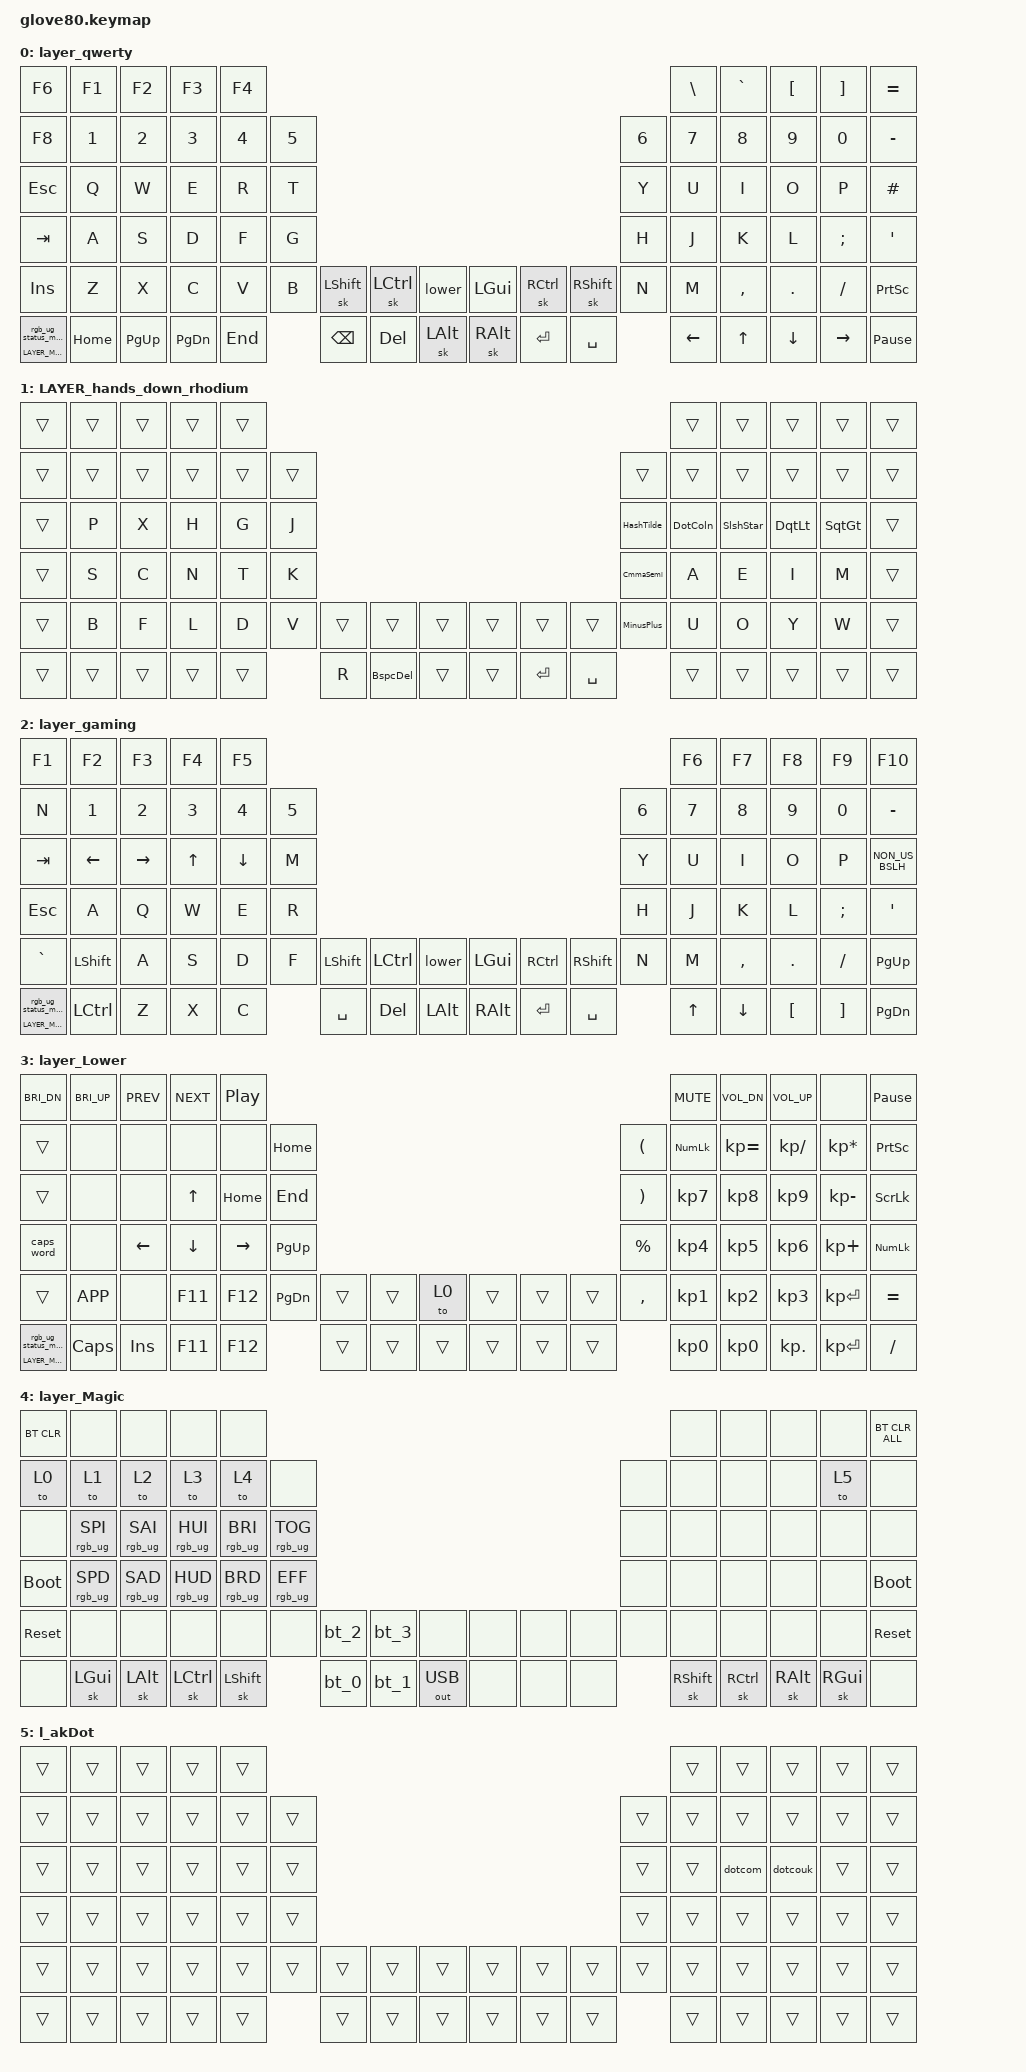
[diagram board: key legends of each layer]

/*
 * Copyright (c) 2020 The ZMK Contributors
 * Copyright (c) 2023 Innaworks Development Limited, trading as MoErgo
 *
 * SPDX-License-Identifier: MIT
 */

#include <behaviors.dtsi>
/* Include all behaviour includes needed */
#include <dt-bindings/zmk/outputs.h>
#include <dt-bindings/zmk/keys.h>
#include <dt-bindings/zmk/bt.h>
#include <dt-bindings/zmk/rgb.h>

/* Automatically generated layer name #define */
#define LAYER_qwerty 0
#define LAYER_hands_down_rhodium 1
#define LAYER_gaming 2
#define LAYER_Lower 3
#define LAYER_Magic 4
#define l_akDot 5

#define layers_hands_down LAYER_hands_down_rhodium LAYER_qwerty

/* To deal with the situation where there is no Lower layer, to keep &lower happy */
#ifndef LAYER_Lower
#define LAYER_Lower 0
#endif

/* Custom Device-tree */

#define my_tapping_term 170
#define my_quick_tapping_term 112
#define my_ak_delay 40

&mt {
    tapping-term-ms = <my_tapping_term>;
};
&sl {
    release-after-ms = <my_tapping_term>;
};
&caps_word {
    continue-list = <UNDER MINUS BSPC DEL LEFT RIGHT>;
};


/* Glove80 system behavior & macros */
/ {
    behaviors {
        // For the "layer" key, it'd nice to be able to use it as either a shift or a toggle.
        // Configure it as a tap dance, so the first tap (or hold) is a &mo and the second tap is a &to
        lower: lower {
            compatible = "zmk,behavior-tap-dance";
            label = "LAYER_TAP_DANCE";
            #binding-cells = <0>;
            tapping-term-ms = <200>;
            bindings = <&mo LAYER_Lower>, <&to LAYER_Lower>;
        };
    };
};

/ {
    macros {
        rgb_ug_status_macro: rgb_ug_status_macro {
            label = "RGB_UG_STATUS";
            compatible = "zmk,behavior-macro";
            #binding-cells = <0>;
            bindings
                = <&rgb_ug RGB_STATUS>;
        };
    };
};


/ {
#ifdef BT_DISC_CMD
    behaviors {
        bt_0: bt_0 {
            compatible = "zmk,behavior-tap-dance";
            label = "BT_0";
            #binding-cells = <0>;
            tapping-term-ms = <200>;
            bindings = <&bt_select_0>, <&bt BT_DISC 0>;
        };
        bt_1: bt_1 {
            compatible = "zmk,behavior-tap-dance";
            label = "BT_1";
            #binding-cells = <0>;
            tapping-term-ms = <200>;
            bindings = <&bt_select_1>, <&bt BT_DISC 1>;
        };
        bt_2: bt_2 {
            compatible = "zmk,behavior-tap-dance";
            label = "BT_2";
            #binding-cells = <0>;
            tapping-term-ms = <200>;
            bindings = <&bt_select_2>, <&bt BT_DISC 2>;
        };
        bt_3: bt_3 {
            compatible = "zmk,behavior-tap-dance";
            label = "BT_3";
            #binding-cells = <0>;
            tapping-term-ms = <200>;
            bindings = <&bt_select_3>, <&bt BT_DISC 3>;
        };
    };
    macros {
        bt_select_0: bt_select_0 {
            label = "BT_SELECT_0";
            compatible = "zmk,behavior-macro";
            #binding-cells = <0>;
            bindings
                = <&out OUT_BLE>,
                  <&bt BT_SEL 0>;
        };
        bt_select_1: bt_select_1 {
            label = "BT_SELECT_1";
            compatible = "zmk,behavior-macro";
            #binding-cells = <0>;
            bindings
                = <&out OUT_BLE>,
                  <&bt BT_SEL 1>;
        };
        bt_select_2: bt_select_2 {
            label = "BT_SELECT_2";
            compatible = "zmk,behavior-macro";
            #binding-cells = <0>;
            bindings
                = <&out OUT_BLE>,
                  <&bt BT_SEL 2>;
        };
        bt_select_3: bt_select_3 {
            label = "BT_SELECT_3";
            compatible = "zmk,behavior-macro";
            #binding-cells = <0>;
            bindings
                = <&out OUT_BLE>,
                  <&bt BT_SEL 3>;
        };
    };
#else
    macros {
        bt_0: bt_0 {
            label = "BT_0";
            compatible = "zmk,behavior-macro";
            #binding-cells = <0>;
            bindings
                = <&out OUT_BLE>,
                  <&bt BT_SEL 0>;
        };
        bt_1: bt_1 {
            label = "BT_1";
            compatible = "zmk,behavior-macro";
            #binding-cells = <0>;
            bindings
                = <&out OUT_BLE>,
                  <&bt BT_SEL 1>;
        };
        bt_2: bt_2 {
            label = "BT_2";
            compatible = "zmk,behavior-macro";
            #binding-cells = <0>;
            bindings
                = <&out OUT_BLE>,
                  <&bt BT_SEL 2>;
        };
        bt_3: bt_3 {
            label = "BT_3";
            compatible = "zmk,behavior-macro";
            #binding-cells = <0>;
            bindings
                = <&out OUT_BLE>,
                  <&bt BT_SEL 3>;
        };
    };
#endif
};

/ {
    behaviors {
        magic: magic {
            compatible = "zmk,behavior-hold-tap";
            label = "MAGIC_HOLD_TAP";
            #binding-cells = <2>;
            flavor = "tap-preferred";
            tapping-term-ms = <200>;
            bindings = <&mo>, <&rgb_ug_status_macro>;
        };
    };
};

/* #define for key positions */
#define POS_LH_T1 52
#define POS_LH_T2 53
#define POS_LH_T3 54
#define POS_LH_T4 69
#define POS_LH_T5 70
#define POS_LH_T6 71
#define POS_LH_C1R2 15
#define POS_LH_C1R3 27
#define POS_LH_C1R4 39
#define POS_LH_C1R5 51
#define POS_LH_C2R1 4
#define POS_LH_C2R2 14
#define POS_LH_C2R3 26
#define POS_LH_C2R4 38
#define POS_LH_C2R5 50
#define POS_LH_C2R6 68
#define POS_LH_C3R1 3
#define POS_LH_C3R2 13
#define POS_LH_C3R3 25
#define POS_LH_C3R4 37
#define POS_LH_C3R5 49
#define POS_LH_C3R6 67
#define POS_LH_C4R1 2
#define POS_LH_C4R2 12
#define POS_LH_C4R3 24
#define POS_LH_C4R4 36
#define POS_LH_C4R5 48
#define POS_LH_C4R6 66
#define POS_LH_C5R1 1
#define POS_LH_C5R2 11
#define POS_LH_C5R3 23
#define POS_LH_C5R4 35
#define POS_LH_C5R5 47
#define POS_LH_C5R6 65
#define POS_LH_C6R1 0
#define POS_LH_C6R2 10
#define POS_LH_C6R3 22
#define POS_LH_C6R4 34
#define POS_LH_C6R5 46
#define POS_LH_C6R6 64
#define POS_RH_T1 57
#define POS_RH_T2 56
#define POS_RH_T3 55
#define POS_RH_T4 74
#define POS_RH_T5 73
#define POS_RH_T6 72
#define POS_RH_C1R2 16
#define POS_RH_C1R3 28
#define POS_RH_C1R4 40
#define POS_RH_C1R5 58
#define POS_RH_C2R1 5
#define POS_RH_C2R2 17
#define POS_RH_C2R3 29
#define POS_RH_C2R4 41
#define POS_RH_C2R5 59
#define POS_RH_C2R6 75
#define POS_RH_C3R1 6
#define POS_RH_C3R2 18
#define POS_RH_C3R3 30
#define POS_RH_C3R4 42
#define POS_RH_C3R5 60
#define POS_RH_C3R6 76
#define POS_RH_C4R1 7
#define POS_RH_C4R2 19
#define POS_RH_C4R3 31
#define POS_RH_C4R4 43
#define POS_RH_C4R5 61
#define POS_RH_C4R6 77
#define POS_RH_C5R1 8
#define POS_RH_C5R2 20
#define POS_RH_C5R3 32
#define POS_RH_C5R4 44
#define POS_RH_C5R5 62
#define POS_RH_C5R6 78
#define POS_RH_C6R1 9
#define POS_RH_C6R2 21
#define POS_RH_C6R3 33
#define POS_RH_C6R4 45
#define POS_RH_C6R5 63
#define POS_RH_C6R6 79

/* Custom Defined Behaviors */
/ {
    /*
*
* Copyright (c) 2021 lowprokb.ca
* SPDX-License-Identifier: MIT
* Copied from https://github.com/moutis/zmk-config and modified by Will Martin for the Glove 80.
* Some actions are omitted, and modifier keys are changed to work with Windows/Linux.
*/

#define LT5 POS_LH_C6R3
#define LT4 POS_LH_C5R3
#define LT3 POS_LH_C4R3
#define LT2 POS_LH_C3R3
#define LT1 POS_LH_C2R3
#define LT0 POS_LH_C1R3

#define LM5 POS_LH_C6R4
#define LM4 POS_LH_C5R4
#define LM3 POS_LH_C4R4
#define LM2 POS_LH_C3R4
#define LM1 POS_LH_C2R4
#define LM0 POS_LH_C1R4

#define LB5 POS_LH_C6R5
#define LB4 POS_LH_C5R5
#define LB3 POS_LH_C4R5
#define LB2 POS_LH_C3R5
#define LB1 POS_LH_C2R5
#define LB0 POS_LH_C1R5

#define RT5 POS_RH_C6R3
#define RT4 POS_RH_C5R3
#define RT3 POS_RH_C4R3
#define RT2 POS_RH_C3R3
#define RT1 POS_RH_C2R3
#define RT0 POS_RH_C1R3

#define RM5 POS_RH_C6R4
#define RM4 POS_RH_C5R4
#define RM3 POS_RH_C4R4
#define RM2 POS_RH_C3R4
#define RM1 POS_RH_C2R4
#define RM0 POS_RH_C1R4

#define RB5 POS_RH_C6R5
#define RB4 POS_RH_C5R5
#define RB3 POS_RH_C4R5
#define RB2 POS_RH_C3R5
#define RB1 POS_RH_C2R5
#define RB0 POS_RH_C1R5

#define LH1 POS_LH_T4
#define LH2 POS_LH_T5
#define LH3 POS_LH_T6
#define RH1 POS_RH_T4
#define RH2 POS_RH_T5
#define RH3 POS_RH_T6

#define KEYS_L LT0 LT1 LT2 LT3 LT4 LM0 LM1 LM2 LM3 LM4 LB0 LB1 LB2 LB3 LB4  // left-hand keys
#define KEYS_R RT0 RT1 RT2 RT3 RT4 RM0 RM1 RM2 RM3 RM4 RB0 RB1 RB2 RB3 RB4  // right-hand keys
#define THUMBS LH3 LH2 LH1 RH1 RH2 RH3                                      // thumb keys

#define COMBO_TIMEOUT 45

#define COMBO_LAYER(NAME, BINDINGS, KEYPOS, LAYERS) \
  combo_##NAME { \
    bindings = <BINDINGS>; \
    key-positions = <KEYPOS>; \
    layers = <LAYERS>; \
    timeout-ms = <COMBO_TIMEOUT >; \
};
#define COMBO_ANY(NAME, BINDINGS, KEYPOS) \
  combo_##NAME { \
    bindings = <BINDINGS>; \
    key-positions = <KEYPOS>; \
    timeout-ms = <COMBO_TIMEOUT >; \
};

combos {
    compatible = "zmk,combos";
    
    //
    // control/modes
    //
    COMBO_LAYER(capsWord, &caps_word, LM2 LM1 RM1 RM2, layers_hands_down) // CAPSWORD
    COMBO_LAYER(capsLock, &kp CAPS, LM3 LM2 RM2 RM3, layers_hands_down) // CAPS LOCK

    //
    // Editing actions (&whitespace)
    //
    COMBO_LAYER(sall, &kp LC(A),      LB4 LB1, layers_hands_down)
    COMBO_LAYER(selword, &m_selword,  LB4 LB0, layers_hands_down)
    COMBO_LAYER(undo, &kp LC(Z),      LB4 LB3, layers_hands_down)
    COMBO_LAYER(redo, &kp LC(Y),  LB4 LB3 LB2, layers_hands_down)
    COMBO_LAYER(copy, &lk LC(X) LC(C), LB3 LB2, layers_hands_down)
    COMBO_LAYER(pste, &lk LC(LS(V)) LC(V), LB2 LB1, layers_hands_down)
    COMBO_LAYER(cloz, &kp LC(W),      LM3 LB3, layers_hands_down)
    COMBO_LAYER(new,  &kp LC(N),      LM2 LB2, layers_hands_down)
    COMBO_LAYER(open, &kp LC(O),      LM1 LB1, layers_hands_down)
    COMBO_LAYER(quit, &kp LC(Q),      LM0 LB0, layers_hands_down)
    COMBO_LAYER(findsel, &b_findsel LC(F) LC(F),  LM4 LB0, layers_hands_down)
    COMBO_LAYER(backspaceWord, &kp LC(BSPC), RT0 RT1, layers_hands_down)

    //
    // type a glyph (tiny board accommodation)
    //
    COMBO_LAYER(typeQ, &lk_qu Q U,      LT3 LT1, layers_hands_down)
    COMBO_LAYER(typeZ, &kp Z,           LM3 LM1, layers_hands_down)
    COMBO_LAYER(typeColn, &lk LS(SEMI) COLON,    RT1 RT3, layers_hands_down)
    COMBO_LAYER(typeSemi, &kp SEMI,     RM0 RM1, layers_hands_down)
    COMBO_LAYER(typeExcl, &kp EXCL,     RT1 RT2, layers_hands_down)
    COMBO_LAYER(typeQues, &kp QMARK,    RT2 RT3, layers_hands_down)
    COMBO_LAYER(typeGrav, &kp GRAVE,    RT3 RT4, layers_hands_down)
    COMBO_LAYER(typeUnder, &kp UNDER,   RB1 RB3, layers_hands_down) // _
    COMBO_LAYER(typeEqual, &lk PRCNT EQUAL,   RB2 RB3, layers_hands_down) // = (percent if held)
    COMBO_LAYER(typeTilde, &kp TILDE,   RB1 RB4, layers_hands_down) // tilde (not dead key)

    //
    // Pronoun combos REQUIRE macros to process
    //

    COMBO_LAYER(pnI, &typePnI,          RM3 RM4, layers_hands_down) // "I "

    COMBO_LAYER(pnIm, &typePnIm,        RM3 LT2, layers_hands_down) // "I'm "
    COMBO_LAYER(pnIll, &typePnIll,      RM3 LB2, layers_hands_down) // "I'll "
    COMBO_LAYER(pnId, &typePnId,        RM3 LB1, layers_hands_down) // "I'd "
    COMBO_LAYER(pnIve, &typePnIve,      RM3 LB0, layers_hands_down) // "I've "

    COMBO_LAYER(pnYour,  &typePnYour,   RB3 LH1, layers_hands_down) // "Your "
    COMBO_LAYER(pnYoure, &typePnYoure,  RB3 LB3, layers_hands_down) // "You're "
    COMBO_LAYER(pnYoull, &typePnYoull,  RB3 LB2, layers_hands_down) // "You'll "
    COMBO_LAYER(pnYoud, &typePnYoud,    RB3 LB1, layers_hands_down) // "You'd "
    COMBO_LAYER(pnYouve, &typePnYouve,  RB3 LB0, layers_hands_down) // "You've "

    COMBO_LAYER(pnWere, &typePnWere,    LT4 LH1, layers_hands_down) // "We're "
    COMBO_LAYER(pnWell, &typePnWell,    LT4 LT2, layers_hands_down) // "We'll "
    COMBO_LAYER(pnWed, &typePnWed,      LT4 LT1, layers_hands_down) // "We'd "
    COMBO_LAYER(pnWeve, &typePnWeve,    LT4 LT0, layers_hands_down) // "We've "
    
    
};

behaviors {

    skapp: sticky_key_app_switcher {
        compatible = "zmk,behavior-sticky-key";
        label = "SK_APP_SWITCHER";
        #binding-cells = <1>;
        bindings = <&kp>;
        release-after-ms = <900>;
    };

    // Custom shifted pairs
    double_quote: double_quote_and_exclamation {
        compatible = "zmk,behavior-mod-morph";
        #binding-cells = <0>;
        label = "DOUBLE_QUOTE_AND_EXCLAMATION";
        bindings = <&kp DQT>, <&kp EXCL>;
        mods = <(MOD_LSFT|MOD_RSFT)>;
    };
    // Custom hold behaviours
    lk: lk {
        compatible = "zmk,behavior-hold-tap";
        label = "lk";
        #binding-cells = <2>;
        tapping-term-ms = <my_tapping_term>;
        flavor = "tap-preferred";
        bindings = <&kp>, <&kp>;
    };
    b_findsel: b_findsel {
        compatible = "zmk,behavior-hold-tap";
        label = "b_findsel";
        #binding-cells = <2>;
        tapping-term-ms = <my_tapping_term>;
        flavor = "tap-preferred";
        bindings = <&m_findsel>, <&kp>;
    };
    
    lk_qu: lk_qu {
        compatible = "zmk,behavior-hold-tap";
        label = "lk_qu";
        #binding-cells = <2>;
        tapping-term-ms = <my_tapping_term>;
        flavor = "tap-preferred";
        bindings = <&kp>, <&Qu>;
    };
    CmmaSemi: CmmaSemi {
        compatible = "zmk,behavior-mod-morph";
        label = "comma_semi";
        #binding-cells = <0>;
        bindings = <&kp CMMA>, <&typeSemi>;
        mods = <(MOD_LSFT|MOD_RSFT)>;
    };
    DotColn: DotColn {
        compatible = "zmk,behavior-mod-morph";
        label = "DotColn";
        #binding-cells = <0>;
        bindings = <&dot_ak>, <&kp COLON>;
        mods = <(MOD_LSFT|MOD_RSFT)>;
    };
    SlshStar: SlshStar {
        compatible = "zmk,behavior-mod-morph";
        label = "SlshStar";
        #binding-cells = <0>;
        bindings = <&kp FSLH>, <&kp STAR>;
        mods = <(MOD_LSFT|MOD_RSFT)>;
    };
    HashTilde: HashTilde {
        compatible = "zmk,behavior-mod-morph";
        label = "HashTilde";
        #binding-cells = <0>;
        bindings = <&kp HASH>, <&kp TILDE>;
        mods = <(MOD_LSFT|MOD_RSFT)>;
    };
    MinusPlus: MinusPlus {
        compatible = "zmk,behavior-mod-morph";
        label = "MinusPlus";
        #binding-cells = <0>;
        bindings = <&kp MINUS>, <&kp PLUS>;
        mods = <(MOD_LSFT|MOD_RSFT)>;
    };
    DqtLt: DqtLt {
        compatible = "zmk,behavior-mod-morph";
        label = "DqtLt";
        #binding-cells = <0>;
        bindings = <&kp DQT>, <&kp LT>;
        mods = <(MOD_LSFT|MOD_RSFT)>;
    };
    SqtGt: SqtGt {
        compatible = "zmk,behavior-mod-morph";
        label = "SqtGt";
        #binding-cells = <0>;
        bindings = <&kp SQT>, <&kp GT>;
        mods = <(MOD_LSFT|MOD_RSFT)>;
    };
    BspcDel: Bspc_Del {
        compatible = "zmk,behavior-mod-morph";
        label = "Bspc_Del";
        #binding-cells = <0>;
        bindings = <&kp BSPC>, <&kp DEL>;
        mods = <(MOD_LSFT|MOD_RSFT)>;
    };
    
    LparLt: LparLt {
        compatible = "zmk,behavior-mod-morph";
        label = "LparLt";
        #binding-cells = <0>;
        bindings = <&kp LT>, <&kp LPAR>;
        mods = <(MOD_LSFT|MOD_RSFT)>;
    };
    RparGt: RparGt {
        compatible = "zmk,behavior-mod-morph";
        label = "RparGt";
        #binding-cells = <0>;
        bindings = <&kp GT>, <&kp RPAR>;
        mods = <(MOD_LSFT|MOD_RSFT)>;
    };
};

macros {
    ZMK_MACRO(Qu,
        wait-ms = <10>;
        tap-ms = <10>;
        bindings = <&macro_tap &kp Q>
            , <&macro_release &kp LSHFT>
            , <&macro_release &kp RSHFT>
            , <&macro_tap &kp U>
            ;
    )
    
    dot_ak: dot_ak {
        label = "dot_ak";
        compatible = "zmk,behavior-macro";
        #binding-cells = <0>;
        wait-ms = <50>; // need to slow this down for some systems.
        bindings = <&macro_tap &kp DOT>
                , <&sl l_akDot>;
        };
    dotcom: dotcom {
        label = "dotcom";
        compatible = "zmk,behavior-macro";
        #binding-cells = <0>;
        wait-ms = <50>; // need to slow this down for some systems.
        bindings = <&kp C &kp O &kp M>
                ;
        };
    dotcouk: dotcouk {
        label = "dotcouk";
        compatible = "zmk,behavior-macro";
        #binding-cells = <0>;
        wait-ms = <50>; // need to slow this down for some systems.
        bindings = <&kp C &kp O &kp DOT &kp U &kp K>
                ;
        };

    m_selword: m_selword {
        label = "m_select word";
        compatible = "zmk,behavior-macro";
        #binding-cells = <0>;
        wait-ms = <10>;
        tap-ms = <10>;
        bindings = <&macro_tap &kp LC(LEFT)>
                , <&macro_tap &kp LS(LC(RIGHT))>
            ;
    };

    m_findsel: m_findsel {
        label = "Find Selection";
        compatible = "zmk,behavior-macro";
        #binding-cells = <0>;
        wait-ms = <10>;
        tap-ms = <10>;
         bindings = <&macro_tap &kp LC(C)>
                , <&macro_tap &kp LC(F)>
                , <&macro_tap &kp LC(V)>
                , <&macro_tap &kp RETURN>
                , <&macro_tap &kp LC(G)>
            ;
    };
    
    Sch: Sch {
        label = "Sch";
        compatible = "zmk,behavior-macro";
        #binding-cells = <0>;
        wait-ms = <10>;
        tap-ms = <10>;
        bindings = <&macro_tap &kp S>
                , <&macro_release &kp LSHFT>
                , <&macro_release &kp RSHFT>
                , <&macro_tap &kp C &kp H>
            ;
    };
    Tch: Tch {
        label = "Tch";
        compatible = "zmk,behavior-macro";
        #binding-cells = <0>;
        wait-ms = <10>;
        tap-ms = <10>;
        bindings = <&macro_tap &kp T>
                , <&macro_release &kp LSHFT>
                , <&macro_release &kp RSHFT>
                , <&macro_tap &kp C &kp H>
            ;
    };
    
    ZMK_MACRO(typeSemi,
        wait-ms = <10>;
        tap-ms = <10>;
        bindings = <&macro_release &kp LSHFT>
            , <&macro_tap &kp SEMICOLON>
            ;
    )
    
    Th: Th {
        label = "Th";
        compatible = "zmk,behavior-macro";
        #binding-cells = <0>;
        wait-ms = <10>;
        tap-ms = <10>;
        bindings = <&macro_tap &kp T>
            , <&macro_release &kp LSHFT>
            , <&macro_release &kp RSHFT>
            , <&macro_tap &kp H>
            ;
    };
    ZMK_MACRO(tion,
        wait-ms = <10>;
        tap-ms = <10>;
        bindings = <&kp T &kp I &kp O &kp N>
                ;
    )
    ZMK_MACRO(Ch,
        wait-ms = <10>;
        tap-ms = <10>;
        bindings = <&macro_tap &kp C>
                , <&macro_release &kp LSHFT>
                , <&macro_release &kp RSHFT>
                , <&macro_tap &kp H>
                ;
        )
    ZMK_MACRO(Wh,
        wait-ms = <10>;
        tap-ms = <10>;
        bindings = <&macro_tap &kp W>
                , <&macro_release &kp LSHFT>
                , <&macro_release &kp RSHFT>
                , <&macro_tap &kp H>
                ;
        )
    ZMK_MACRO(Sh,
        wait-ms = <10>;
        tap-ms = <10>;
        bindings = <&macro_tap &kp S>
                , <&macro_release &kp LSHFT>
                , <&macro_release &kp RSHFT>
                , <&macro_tap &kp H>
                ;
        )
    ZMK_MACRO(sion,
        wait-ms = <10>;
        tap-ms = <10>;
        bindings = <&kp S &kp I &kp O &kp N>
                ;
        )
    ZMK_MACRO(Gh,
            wait-ms = <10>;
            tap-ms = <10>;
        bindings = <&macro_tap &kp G>
                , <&macro_release &kp LSHFT>
                , <&macro_release &kp RSHFT>
                , <&macro_tap &kp H>
                ;
        )
    ZMK_MACRO(ght,
            wait-ms = <10>;
            tap-ms = <10>;
        bindings = <&kp G &kp H &kp T>
                ;
        )
    ZMK_MACRO(Ph,
            wait-ms = <10>;
            tap-ms = <10>;
        bindings = <&macro_tap &kp P>
                , <&macro_release &kp LSHFT>
                , <&macro_release &kp RSHFT>
                , <&macro_tap &kp H>
                ;
        )
        
    // Pronouns
    typePnI: pnI {
        label = "pnI";
        compatible = "zmk,behavior-macro";
        #binding-cells = <0>;
        wait-ms = <10>;
        tap-ms = <10>;
        bindings = <&macro_tap &kp LS(I)>
                , <&macro_tap &kp SPACE>
            ;
    };
    typePnIm: pnIm {
        label = "pnIM";
        compatible = "zmk,behavior-macro";
        #binding-cells = <0>;
        wait-ms = <10>;
        tap-ms = <10>;
        bindings = <&macro_tap &kp LS(I)>
                , <&macro_release &kp LSHFT>
                , <&macro_release &kp RSHFT>
                , <&macro_tap &kp APOS &kp M &kp SPACE>
            ;
    };
    typePnId: pnId {
        label = "pnID";
        compatible = "zmk,behavior-macro";
        #binding-cells = <0>;
        wait-ms = <10>;
        tap-ms = <10>;
        bindings = <&macro_tap &kp LS(I)>
                , <&macro_release &kp LSHFT>
                , <&macro_release &kp RSHFT>
                , <&macro_tap &kp APOS &kp D &kp SPACE>
            ;
    };
    typePnIll: pnIll {
        label = "pnIL";
        compatible = "zmk,behavior-macro";
        #binding-cells = <0>;
        wait-ms = <10>;
        tap-ms = <10>;
        bindings = <&macro_tap &kp LS(I)>
                , <&macro_release &kp LSHFT>
                , <&macro_release &kp RSHFT>
                , <&macro_tap &kp APOS &kp L &kp L &kp SPACE>
            ;
    };
    typePnIve: pnIve {
        label = "pnIVE";
        compatible = "zmk,behavior-macro";
        #binding-cells = <0>;
        wait-ms = <10>;
        tap-ms = <10>;
        bindings = <&macro_tap &kp LS(I)>
                , <&macro_release &kp LSHFT>
                , <&macro_release &kp RSHFT>
                , <&macro_tap &kp APOS &kp V &kp E &kp SPACE>
            ;
    };
    // YOU
    typePnYour: pnYour {
        label = "pnYour";
        compatible = "zmk,behavior-macro";
        #binding-cells = <0>;
        wait-ms = <10>;
        tap-ms = <10>;
        bindings = <&macro_tap &kp Y>
                , <&macro_release &kp LSHFT>
                , <&macro_release &kp RSHFT>
                , <&macro_tap &kp O &kp U &kp R &kp SPACE>
            ;
    };
    typePnYoure: pnYoure {
        label = "pnYoure";
        compatible = "zmk,behavior-macro";
        #binding-cells = <0>;
        wait-ms = <10>;
        tap-ms = <10>;
        bindings = <&macro_tap &kp Y>
                , <&macro_release &kp LSHFT>
                , <&macro_release &kp RSHFT>
                , <&macro_tap &kp O &kp U &kp APOS &kp R &kp E &kp SPACE>
            ;
    };
    typePnYoud: pnYoud {
        label = "pnYou'd";
        compatible = "zmk,behavior-macro";
        #binding-cells = <0>;
        wait-ms = <10>;
        tap-ms = <10>;
        bindings = <&macro_tap &kp Y>
                , <&macro_release &kp LSHFT>
                , <&macro_release &kp RSHFT>
                , <&macro_tap &kp O &kp U &kp APOS &kp D &kp SPACE>
            ;
    };
    typePnYoull: pnYoull {
        label = "pnYou'll";
        compatible = "zmk,behavior-macro";
        #binding-cells = <0>;
        wait-ms = <10>;
        tap-ms = <10>;
        bindings = <&macro_tap &kp Y>
                , <&macro_release &kp LSHFT>
                , <&macro_release &kp RSHFT>
                , <&macro_tap &kp O &kp U &kp APOS &kp L &kp L &kp SPACE>
            ;
    };
    typePnYouve: pnYouve {
        label = "pnYou've";
        compatible = "zmk,behavior-macro";
        #binding-cells = <0>;
        wait-ms = <10>;
        tap-ms = <10>;
        bindings = <&macro_tap &kp Y>
                , <&macro_release &kp LSHFT>
                , <&macro_release &kp RSHFT>
                , <&macro_tap &kp O &kp U &kp APOS &kp V &kp E &kp SPACE>
            ;
    };
    // WE
    typePnWere: pnWere {
        label = "pnWere";
        compatible = "zmk,behavior-macro";
        #binding-cells = <0>;
        wait-ms = <10>;
        tap-ms = <10>;
        bindings = <&macro_tap &kp W>
                , <&macro_release &kp LSHFT>
                , <&macro_release &kp RSHFT>
                , <&macro_tap &kp E &kp APOS &kp R &kp E &kp SPACE>
            ;
    };
    typePnWed: pnWed {
        label = "pnWe'd";
        compatible = "zmk,behavior-macro";
        #binding-cells = <0>;
        wait-ms = <10>;
        tap-ms = <10>;
        bindings = <&macro_tap &kp W>
                , <&macro_release &kp LSHFT>
                , <&macro_release &kp RSHFT>
                , <&macro_tap &kp E &kp APOS &kp D &kp SPACE>
            ;
    };
    typePnWell: pnWell {
        label = "pnWe'll";
        compatible = "zmk,behavior-macro";
        #binding-cells = <0>;
        wait-ms = <10>;
        tap-ms = <10>;
        bindings = <&macro_tap &kp W>
                , <&macro_release &kp LSHFT>
                , <&macro_release &kp RSHFT>
                , <&macro_tap &kp E &kp APOS &kp L &kp L &kp SPACE>
            ;
    };
    typePnWeve: pnWeve {
        label = "pnWe've";
        compatible = "zmk,behavior-macro";
        #binding-cells = <0>;
        wait-ms = <10>;
        tap-ms = <10>;
        bindings = <&macro_tap &kp W>
                , <&macro_release &kp LSHFT>
                , <&macro_release &kp RSHFT>
                , <&macro_tap &kp E &kp APOS &kp V &kp E &kp SPACE>
            ;
    };
};
};

/* Automatically generated macro definitions */
/ {
    macros {
    
    };
};

/ {
    keymap {
        compatible = "zmk,keymap";


        layer_qwerty {
            bindings = <
    &kp F6                &kp F1    &kp F2     &kp F3     &kp F4                                                                                  &kp BSLH    &kp GRAVE    &kp LBKT    &kp RBKT    &kp EQUAL
    &kp F8               &kp N1    &kp N2     &kp N3     &kp N4    &kp N5                                                               &kp N6   &kp N7    &kp N8    &kp N9    &kp N0    &kp MINUS
    &kp ESC               &kp Q     &kp W      &kp E      &kp R     &kp T                                                                &kp Y    &kp U     &kp I     &kp O     &kp P     &kp HASH
    &kp TAB                &kp A     &kp S      &kp D      &kp F     &kp G                                                                &kp H    &kp J     &kp K     &kp L     &kp SEMI  &kp SQT
    &kp INS              &kp Z     &kp X      &kp C      &kp V     &kp B   &sk LSHFT &sk LCTRL &lower    &kp LGUI  &sk RCTRL &sk RSHFT  &kp N    &kp M     &kp COMMA &kp DOT   &kp FSLH  &kp PRINTSCREEN
    &magic LAYER_Magic 0  &kp HOME  &kp PG_UP  &kp PG_DN  &kp END           &kp BSPC  &kp DEL   &sk LALT  &sk RALT  &kp RET   &kp SPACE          &kp LEFT    &kp UP  &kp DOWN  &kp RIGHT   &kp PAUSE_BREAK
            >;
        };

        LAYER_hands_down_rhodium {
            bindings = <
    &trans    &trans      &trans      &trans        &trans                                                                                        &trans          &trans          &trans        &trans      &trans
    &trans    &trans      &trans      &trans        &trans          &trans                                                            &trans      &trans          &trans          &trans        &trans      &trans
    &trans    &kp P       &kp X       &kp H         &kp G           &kp J                                                             &HashTilde  &DotColn        &SlshStar       &DqtLt      &SqtGt    &trans
    &trans    &kp S       &kp C       &kp N         &kp T           &kp K                                                             &CmmaSemi   &kp A           &kp E           &kp I         &kp M       &trans
    &trans    &kp B       &kp F       &kp L         &kp D           &kp V     &trans    &trans    &trans  &trans   &trans   &trans    &MinusPlus  &kp U           &kp O           &kp Y         &kp W       &trans
    &trans    &trans      &trans      &trans        &trans                    &kp R     &BspcDel  &trans  &trans   &kp RET  &kp SPACE             &trans          &trans          &trans        &trans      &trans
            >;
        };

        layer_gaming {
            bindings = <
               &kp F1     &kp F2     &kp F3  &kp F4    &kp F5                                                                                  &kp F6     &kp F7    &kp F8    &kp F9          &kp F10
                &kp N     &kp N1     &kp N2  &kp N3    &kp N4  &kp N5                                                                  &kp N6  &kp N7     &kp N8    &kp N9    &kp N0        &kp MINUS
              &kp TAB   &kp LEFT  &kp RIGHT  &kp UP  &kp DOWN   &kp M                                                                   &kp Y   &kp U      &kp I     &kp O     &kp P  &kp NON_US_BSLH
              &kp ESC      &kp A      &kp Q   &kp W     &kp E   &kp R                                                                   &kp H   &kp J      &kp K     &kp L  &kp SEMI          &kp SQT
            &kp GRAVE  &kp LSHFT      &kp A   &kp S     &kp D   &kp F  &kp LSHFT  &kp LCTRL    &lower  &kp LGUI  &kp RCTRL  &kp RSHFT   &kp N   &kp M  &kp COMMA   &kp DOT  &kp FSLH        &kp PG_UP
 &magic LAYER_Magic 0  &kp LCTRL      &kp Z   &kp X     &kp C          &kp SPACE    &kp DEL  &kp LALT  &kp RALT    &kp RET  &kp SPACE          &kp UP   &kp DOWN  &kp LBKT  &kp RBKT        &kp PG_DN
            >;
        };

        layer_Lower {
            bindings = <
         &kp C_BRI_DN  &kp C_BRI_UP      &kp C_PREV      &kp C_NEXT         &kp C_PP                                                                                    &kp C_MUTE  &kp C_VOL_DN  &kp C_VOL_UP            &none  &kp PAUSE_BREAK
               &trans         &none           &none           &none            &none   &kp HOME                                                   &kp LEFT_PARENTHESIS  &kp KP_NUM  &kp KP_EQUAL  &kp KP_SLASH  &kp KP_MULTIPLY  &kp PRINTSCREEN
               &trans         &none           &none    &kp UP_ARROW            &kp HOME    &kp END                                                  &kp RIGHT_PARENTHESIS   &kp KP_N7     &kp KP_N8     &kp KP_N9     &kp KP_MINUS   &kp SCROLLLOCK
           &caps_word         &none  &kp LEFT_ARROW  &kp DOWN_ARROW  &kp RIGHT_ARROW  &kp PG_UP                                                            &kp PERCENT   &kp KP_N4     &kp KP_N5     &kp KP_N6      &kp KP_PLUS           &kp KP_NUM
               &trans     &kp K_APP           &none         &kp F11          &kp F12  &kp PG_DN  &trans  &trans   &to 0  &trans  &trans  &trans              &kp COMMA   &kp KP_N1     &kp KP_N2     &kp KP_N3     &kp KP_ENTER           &kp EQUAL
 &magic LAYER_Magic 0      &kp CAPS         &kp INS         &kp F11          &kp F12             &trans  &trans  &trans  &trans  &trans  &trans                          &kp KP_N0     &kp KP_N0    &kp KP_DOT     &kp KP_ENTER           &kp FSLH
            >;
        };

        layer_Magic {
            bindings = <
  &bt BT_CLR            &none            &none            &none            &none                                                                                     &none      &none     &none     &none  &bt BT_CLR_ALL
       &to 0            &to 1            &to 2            &to 3            &to 4            &none                                                         &none      &none      &none     &none     &to 5           &none
       &none  &rgb_ug RGB_SPI  &rgb_ug RGB_SAI  &rgb_ug RGB_HUI  &rgb_ug RGB_BRI  &rgb_ug RGB_TOG                                                         &none      &none      &none     &none     &none           &none
 &bootloader  &rgb_ug RGB_SPD  &rgb_ug RGB_SAD  &rgb_ug RGB_HUD  &rgb_ug RGB_BRD  &rgb_ug RGB_EFF                                                         &none      &none      &none     &none     &none     &bootloader
  &sys_reset            &none            &none            &none            &none            &none   &bt_2   &bt_3         &none   &none   &none   &none   &none      &none      &none     &none     &none      &sys_reset
       &none         &sk LGUI         &sk LALT        &sk LCTRL        &sk LSHFT                    &bt_0   &bt_1  &out OUT_USB   &none   &none   &none          &sk RSHFT  &sk RCTRL  &sk RALT  &sk RGUI           &none
            >;
        };

        l_akDot {
            bindings = <
 &trans  &trans  &trans  &trans  &trans                                                                  &trans   &trans    &trans  &trans  &trans
 &trans  &trans  &trans  &trans  &trans  &trans                                                  &trans  &trans   &trans    &trans  &trans  &trans
 &trans  &trans  &trans  &trans  &trans  &trans                                                  &trans  &trans  &dotcom  &dotcouk  &trans  &trans
 &trans  &trans  &trans  &trans  &trans  &trans                                                  &trans  &trans   &trans    &trans  &trans  &trans
 &trans  &trans  &trans  &trans  &trans  &trans  &trans  &trans  &trans  &trans  &trans  &trans  &trans  &trans   &trans    &trans  &trans  &trans
 &trans  &trans  &trans  &trans  &trans          &trans  &trans  &trans  &trans  &trans  &trans          &trans   &trans    &trans  &trans  &trans
            >;
        };

    };
};
